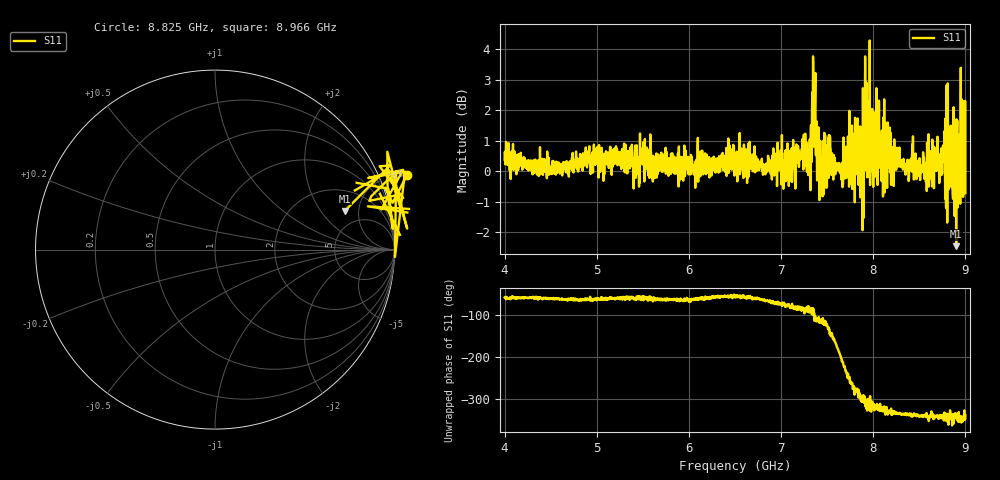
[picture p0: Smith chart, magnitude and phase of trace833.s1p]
! Created with skrf 1.8.0 (http://scikit-rf.org).
# Hz S RI R 50.0
!freq ReS11 ImS11
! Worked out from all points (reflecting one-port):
!   1601 points, 4 GHz to 9 GHz, reference 50 ohm
!   lowest |S11| = -2.4 dB at 8.9 GHz (marker M1), VSWR 7.14, Z = 175 + j175 ohm
!   phase of S11 starts at -58 deg and turns -281 deg over the sweep
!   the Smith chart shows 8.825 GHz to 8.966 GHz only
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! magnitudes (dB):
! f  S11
! 4 GHz  0.4
! 4.625 GHz  -0.1
! 5.25 GHz  0.4
! 5.875 GHz  0.2
! 6.5 GHz  0.5
! 7.125 GHz  0.4
! 7.25 GHz  0.2
! 7.294 GHz  -0.1
! 7.316 GHz  -0.1
! 7.347 GHz  3.8
! 7.359 GHz  1.9
! 7.403 GHz  0.9
! 7.441 GHz  0.4
! 7.509 GHz  0.2
! 7.65 GHz  -0.1
! 7.75 GHz  -0.4
! 7.881 GHz  1.0
! 7.938 GHz  0.0
! 7.966 GHz  -0.4
! 7.991 GHz  0.0
! 8.134 GHz  0.4
! 8.216 GHz  0.8
! 8.375 GHz  0.2
! 8.725 GHz  0.1
! 8.822 GHz  1.2
! 8.9 GHz  -2.4
! 8.972 GHz  0.3
! 9 GHz  -0.7
